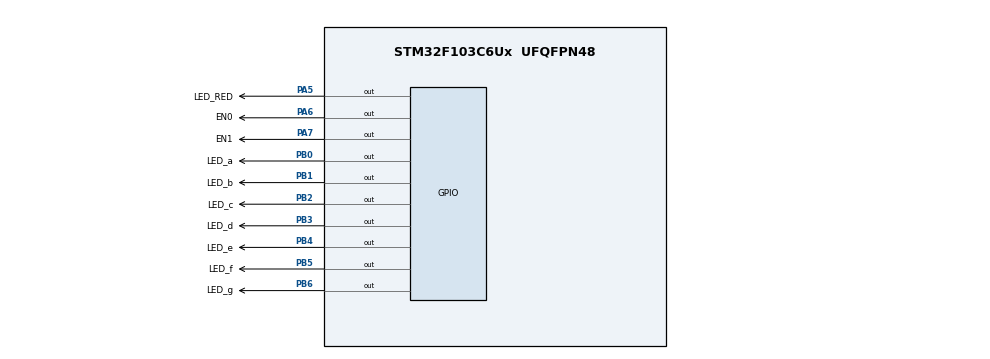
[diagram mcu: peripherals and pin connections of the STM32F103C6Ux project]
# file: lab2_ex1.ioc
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Mcu.Family=STM32F1
Mcu.Name=STM32F103C6Ux
Mcu.Package=UFQFPN48
NVIC.PriorityGroup=NVIC_PRIORITYGROUP_4
NVIC.TIM2_IRQn=true\:0\:0\:false\:false\:true\:true\:true\:true
PA5.GPIO_Label=LED_RED
PA5.GPIO_ModeDefaultOutputPP=GPIO_MODE_OUTPUT_PP
PA5.GPIO_PuPd=GPIO_NOPULL
PA5.GPIO_Speed=GPIO_SPEED_FREQ_LOW
PA5.PinState=GPIO_PIN_RESET
PA5.Signal=GPIO_Output
PA6.GPIO_Label=EN0
PA6.Signal=GPIO_Output
PA7.GPIO_Label=EN1
PA7.Signal=GPIO_Output
PB0.GPIO_Label=LED_a
PB0.GPIO_ModeDefaultOutputPP=GPIO_MODE_OUTPUT_PP
PB0.GPIO_PuPd=GPIO_NOPULL
PB0.GPIO_Speed=GPIO_SPEED_FREQ_LOW
PB0.PinState=GPIO_PIN_RESET
PB0.Signal=GPIO_Output
PB1.GPIO_Label=LED_b
PB1.GPIO_ModeDefaultOutputPP=GPIO_MODE_OUTPUT_PP
PB1.GPIO_PuPd=GPIO_NOPULL
PB1.GPIO_Speed=GPIO_SPEED_FREQ_LOW
PB1.PinState=GPIO_PIN_RESET
PB1.Signal=GPIO_Output
PB2.GPIO_Label=LED_c
PB2.GPIO_ModeDefaultOutputPP=GPIO_MODE_OUTPUT_PP
PB2.GPIO_PuPd=GPIO_NOPULL
PB2.GPIO_Speed=GPIO_SPEED_FREQ_LOW
PB2.PinState=GPIO_PIN_RESET
PB2.Signal=GPIO_Output
PB3.GPIO_Label=LED_d
PB3.GPIO_ModeDefaultOutputPP=GPIO_MODE_OUTPUT_PP
PB3.GPIO_PuPd=GPIO_NOPULL
PB3.GPIO_Speed=GPIO_SPEED_FREQ_LOW
PB3.PinState=GPIO_PIN_RESET
PB3.Signal=GPIO_Output
PB4.GPIO_Label=LED_e
PB4.GPIO_ModeDefaultOutputPP=GPIO_MODE_OUTPUT_PP
PB4.GPIO_PuPd=GPIO_NOPULL
PB4.GPIO_Speed=GPIO_SPEED_FREQ_LOW
PB4.PinState=GPIO_PIN_RESET
PB4.Signal=GPIO_Output
PB5.GPIO_Label=LED_f
PB5.GPIO_ModeDefaultOutputPP=GPIO_MODE_OUTPUT_PP
PB5.GPIO_PuPd=GPIO_NOPULL
PB5.GPIO_Speed=GPIO_SPEED_FREQ_LOW
PB5.PinState=GPIO_PIN_RESET
PB5.Signal=GPIO_Output
PB6.GPIO_Label=LED_g
PB6.Signal=GPIO_Output
ProjectManager.HeapSize=0x200
ProjectManager.StackSize=0x400
ProjectManager.TargetToolchain=STM32CubeIDE
RCC.APB1Freq_Value=8000000
RCC.APB2Freq_Value=8000000
TIM2.Period=9
TIM2.Prescaler=7999
VP_SYS_VS_ND.Mode=No_Debug
VP_TIM2_VS_ClockSourceINT.Mode=Internal
board=custom

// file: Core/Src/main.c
/* USER CODE BEGIN Header */
/**
  ******************************************************************************
  * @file           : main.c
  * @brief          : Main program body
  ******************************************************************************
  * @attention
  *
  * Copyright (c) 2025 STMicroelectronics.
  * All rights reserved.
  *
  * This software is licensed under terms that can be found in the LICENSE file
  * in the root directory of this software component.
  * If no LICENSE file comes with this software, it is provided AS-IS.
  *
  ******************************************************************************
  */
/* USER CODE END Header */
#include "main.h"

TIM_HandleTypeDef htim2;

void SystemClock_Config(void);
static void MX_GPIO_Init(void);
static void MX_TIM2_Init(void);

/* USER CODE BEGIN 0 */
void display7SEG(int num){
	  // common anode => set = off; reset= on
	  switch(num){
	  case 0:
		  HAL_GPIO_WritePin(LED_g_GPIO_Port, LED_g_Pin, SET);

		  HAL_GPIO_WritePin(LED_a_GPIO_Port, LED_a_Pin, RESET);
		  HAL_GPIO_WritePin(LED_b_GPIO_Port, LED_b_Pin, RESET);
		  HAL_GPIO_WritePin(LED_c_GPIO_Port, LED_c_Pin, RESET);
		  HAL_GPIO_WritePin(LED_d_GPIO_Port, LED_d_Pin, RESET);
		  HAL_GPIO_WritePin(LED_e_GPIO_Port, LED_e_Pin, RESET);
		  HAL_GPIO_WritePin(LED_f_GPIO_Port, LED_f_Pin, RESET);
		  break;

	  case 1:
		  HAL_GPIO_WritePin(LED_a_GPIO_Port, LED_a_Pin, SET);
		  HAL_GPIO_WritePin(LED_f_GPIO_Port, LED_f_Pin, SET);
		  HAL_GPIO_WritePin(LED_e_GPIO_Port, LED_e_Pin, SET);
		  HAL_GPIO_WritePin(LED_d_GPIO_Port, LED_d_Pin, SET);
		  HAL_GPIO_WritePin(LED_g_GPIO_Port, LED_g_Pin, SET);
		  HAL_GPIO_WritePin(LED_b_GPIO_Port, LED_b_Pin, RESET);
		  HAL_GPIO_WritePin(LED_c_GPIO_Port, LED_c_Pin, RESET);
		  break;
     case 2: // a b d e g sang
         HAL_GPIO_WritePin(LED_a_GPIO_Port, LED_a_Pin, GPIO_PIN_RESET);
         HAL_GPIO_WritePin(LED_b_GPIO_Port, LED_b_Pin, GPIO_PIN_RESET);
         HAL_GPIO_WritePin(LED_c_GPIO_Port, LED_c_Pin, GPIO_PIN_SET);
         HAL_GPIO_WritePin(LED_d_GPIO_Port, LED_d_Pin, GPIO_PIN_RESET);
         HAL_GPIO_WritePin(LED_e_GPIO_Port, LED_e_Pin, GPIO_PIN_RESET);
         HAL_GPIO_WritePin(LED_f_GPIO_Port, LED_f_Pin, GPIO_PIN_SET);
         HAL_GPIO_WritePin(LED_g_GPIO_Port, LED_g_Pin, GPIO_PIN_RESET);
         break;
     case 3: // a b c d g sang
         HAL_GPIO_WritePin(LED_a_GPIO_Port, LED_a_Pin, GPIO_PIN_RESET);
         HAL_GPIO_WritePin(LED_b_GPIO_Port, LED_b_Pin, GPIO_PIN_RESET);
         HAL_GPIO_WritePin(LED_c_GPIO_Port, LED_c_Pin, GPIO_PIN_RESET);
         HAL_GPIO_WritePin(LED_d_GPIO_Port, LED_d_Pin, GPIO_PIN_RESET);
         HAL_GPIO_WritePin(LED_e_GPIO_Port, LED_e_Pin, GPIO_PIN_SET);
         HAL_GPIO_WritePin(LED_f_GPIO_Port, LED_f_Pin, GPIO_PIN_SET);
         HAL_GPIO_WritePin(LED_g_GPIO_Port, LED_g_Pin, GPIO_PIN_RESET);
         break;

     case 4: // b c f g sang
         HAL_GPIO_WritePin(LED_a_GPIO_Port, LED_a_Pin, GPIO_PIN_SET);
         HAL_GPIO_WritePin(LED_b_GPIO_Port, LED_b_Pin, GPIO_PIN_RESET);
         HAL_GPIO_WritePin(LED_c_GPIO_Port, LED_c_Pin, GPIO_PIN_RESET);
         HAL_GPIO_WritePin(LED_d_GPIO_Port, LED_d_Pin, GPIO_PIN_SET);
         HAL_GPIO_WritePin(LED_e_GPIO_Port, LED_e_Pin, GPIO_PIN_SET);
         HAL_GPIO_WritePin(LED_f_GPIO_Port, LED_f_Pin, GPIO_PIN_RESET);
         HAL_GPIO_WritePin(LED_g_GPIO_Port, LED_g_Pin, GPIO_PIN_RESET);
         break;

     case 5: // a c d f g sang
         HAL_GPIO_WritePin(LED_a_GPIO_Port, LED_a_Pin, GPIO_PIN_RESET);
         HAL_GPIO_WritePin(LED_b_GPIO_Port, LED_b_Pin, GPIO_PIN_SET);
         HAL_GPIO_WritePin(LED_c_GPIO_Port, LED_c_Pin, GPIO_PIN_RESET);
         HAL_GPIO_WritePin(LED_d_GPIO_Port, LED_d_Pin, GPIO_PIN_RESET);
         HAL_GPIO_WritePin(LED_e_GPIO_Port, LED_e_Pin, GPIO_PIN_SET);
         HAL_GPIO_WritePin(LED_f_GPIO_Port, LED_f_Pin, GPIO_PIN_RESET);
         HAL_GPIO_WritePin(LED_g_GPIO_Port, LED_g_Pin, GPIO_PIN_RESET);
         break;

     case 6: // a c d e f g sang
         HAL_GPIO_WritePin(LED_a_GPIO_Port, LED_a_Pin, GPIO_PIN_RESET);
         HAL_GPIO_WritePin(LED_b_GPIO_Port, LED_b_Pin, GPIO_PIN_SET);
         HAL_GPIO_WritePin(LED_c_GPIO_Port, LED_c_Pin, GPIO_PIN_RESET);
         HAL_GPIO_WritePin(LED_d_GPIO_Port, LED_d_Pin, GPIO_PIN_RESET);
         HAL_GPIO_WritePin(LED_e_GPIO_Port, LED_e_Pin, GPIO_PIN_RESET);
         HAL_GPIO_WritePin(LED_f_GPIO_Port, LED_f_Pin, GPIO_PIN_RESET);
         HAL_GPIO_WritePin(LED_g_GPIO_Port, LED_g_Pin, GPIO_PIN_RESET);
         break;

     case 7: // a b c sang
         HAL_GPIO_WritePin(LED_a_GPIO_Port, LED_a_Pin, GPIO_PIN_RESET);
         HAL_GPIO_WritePin(LED_b_GPIO_Port, LED_b_Pin, GPIO_PIN_RESET);
         HAL_GPIO_WritePin(LED_c_GPIO_Port, LED_c_Pin, GPIO_PIN_RESET);
         HAL_GPIO_WritePin(LED_d_GPIO_Port, LED_d_Pin, GPIO_PIN_SET);
         HAL_GPIO_WritePin(LED_e_GPIO_Port, LED_e_Pin, GPIO_PIN_SET);
         HAL_GPIO_WritePin(LED_f_GPIO_Port, LED_f_Pin, GPIO_PIN_SET);
         HAL_GPIO_WritePin(LED_g_GPIO_Port, LED_g_Pin, GPIO_PIN_SET);
         break;

     case 8: // all
         HAL_GPIO_WritePin(LED_a_GPIO_Port, LED_a_Pin, GPIO_PIN_RESET);
         HAL_GPIO_WritePin(LED_b_GPIO_Port, LED_b_Pin, GPIO_PIN_RESET);
         HAL_GPIO_WritePin(LED_c_GPIO_Port, LED_c_Pin, GPIO_PIN_RESET);
         HAL_GPIO_WritePin(LED_d_GPIO_Port, LED_d_Pin, GPIO_PIN_RESET);
         HAL_GPIO_WritePin(LED_e_GPIO_Port, LED_e_Pin, GPIO_PIN_RESET);
         HAL_GPIO_WritePin(LED_f_GPIO_Port, LED_f_Pin, GPIO_PIN_RESET);
         HAL_GPIO_WritePin(LED_g_GPIO_Port, LED_g_Pin, GPIO_PIN_RESET);
         break;

     case 9: // a b c d f g sang
         HAL_GPIO_WritePin(LED_a_GPIO_Port, LED_a_Pin, GPIO_PIN_RESET);
         HAL_GPIO_WritePin(LED_b_GPIO_Port, LED_b_Pin, GPIO_PIN_RESET);
         HAL_GPIO_WritePin(LED_c_GPIO_Port, LED_c_Pin, GPIO_PIN_RESET);
         HAL_GPIO_WritePin(LED_d_GPIO_Port, LED_d_Pin, GPIO_PIN_RESET);
         HAL_GPIO_WritePin(LED_e_GPIO_Port, LED_e_Pin, GPIO_PIN_SET);
         HAL_GPIO_WritePin(LED_f_GPIO_Port, LED_f_Pin, GPIO_PIN_RESET);
         HAL_GPIO_WritePin(LED_g_GPIO_Port, LED_g_Pin, GPIO_PIN_RESET);
         break;
	  }
 }
/* USER CODE END 0 */

int main(void)
{

  /* MCU Configuration--------------------------------------------------------*/

  /* Reset of all peripherals, Initializes the Flash interface and the Systick. */
  HAL_Init();

  /* Configure the system clock */
  SystemClock_Config();

  /* Initialize all configured peripherals */
  MX_GPIO_Init();
  MX_TIM2_Init();
  /* USER CODE BEGIN 2 */
HAL_TIM_Base_Start_IT(&htim2);

  /* USER CODE END 2 */

  /* Infinite loop */
  while (1)
  {

  }
}

void SystemClock_Config(void)
{
  RCC_OscInitTypeDef RCC_OscInitStruct = {0};
  RCC_ClkInitTypeDef RCC_ClkInitStruct = {0};

  /** Initializes the RCC Oscillators according to the specified parameters
  * in the RCC_OscInitTypeDef structure.
  */
  RCC_OscInitStruct.OscillatorType = RCC_OSCILLATORTYPE_HSI;
  RCC_OscInitStruct.HSIState = RCC_HSI_ON;
  RCC_OscInitStruct.HSICalibrationValue = RCC_HSICALIBRATION_DEFAULT;
  RCC_OscInitStruct.PLL.PLLState = RCC_PLL_NONE;
  if (HAL_RCC_OscConfig(&RCC_OscInitStruct) != HAL_OK)
  {
    Error_Handler();
  }

  /** Initializes the CPU, AHB and APB buses clocks
  */
  RCC_ClkInitStruct.ClockType = RCC_CLOCKTYPE_HCLK|RCC_CLOCKTYPE_SYSCLK
                              |RCC_CLOCKTYPE_PCLK1|RCC_CLOCKTYPE_PCLK2;
  RCC_ClkInitStruct.SYSCLKSource = RCC_SYSCLKSOURCE_HSI;
  RCC_ClkInitStruct.AHBCLKDivider = RCC_SYSCLK_DIV1;
  RCC_ClkInitStruct.APB1CLKDivider = RCC_HCLK_DIV1;
  RCC_ClkInitStruct.APB2CLKDivider = RCC_HCLK_DIV1;

  if (HAL_RCC_ClockConfig(&RCC_ClkInitStruct, FLASH_LATENCY_0) != HAL_OK)
  {
    Error_Handler();
  }
}

static void MX_TIM2_Init(void)
{

  TIM_ClockConfigTypeDef sClockSourceConfig = {0};
  TIM_MasterConfigTypeDef sMasterConfig = {0};

  htim2.Instance = TIM2;
  htim2.Init.Prescaler = 7999;
  htim2.Init.CounterMode = TIM_COUNTERMODE_UP;
  htim2.Init.Period = 9;
  htim2.Init.ClockDivision = TIM_CLOCKDIVISION_DIV1;
  htim2.Init.AutoReloadPreload = TIM_AUTORELOAD_PRELOAD_DISABLE;
  if (HAL_TIM_Base_Init(&htim2) != HAL_OK)
  {
    Error_Handler();
  }
  sClockSourceConfig.ClockSource = TIM_CLOCKSOURCE_INTERNAL;
  if (HAL_TIM_ConfigClockSource(&htim2, &sClockSourceConfig) != HAL_OK)
  {
    Error_Handler();
  }
  sMasterConfig.MasterOutputTrigger = TIM_TRGO_RESET;
  sMasterConfig.MasterSlaveMode = TIM_MASTERSLAVEMODE_DISABLE;
  if (HAL_TIMEx_MasterConfigSynchronization(&htim2, &sMasterConfig) != HAL_OK)
  {
    Error_Handler();
  }

}

static void MX_GPIO_Init(void)
{
  GPIO_InitTypeDef GPIO_InitStruct = {0};

  /* GPIO Ports Clock Enable */
  __HAL_RCC_GPIOA_CLK_ENABLE();
  __HAL_RCC_GPIOB_CLK_ENABLE();

  /*Configure GPIO pin Output Level */
  HAL_GPIO_WritePin(GPIOA, LED_RED_Pin|EN0_Pin|EN1_Pin, GPIO_PIN_RESET);

  /*Configure GPIO pin Output Level */
  HAL_GPIO_WritePin(GPIOB, LED_a_Pin|LED_b_Pin|LED_c_Pin|LED_d_Pin
                          |LED_e_Pin|LED_f_Pin|LED_g_Pin, GPIO_PIN_RESET);

  /*Configure GPIO pins : LED_RED_Pin EN0_Pin EN1_Pin */
  GPIO_InitStruct.Pin = LED_RED_Pin|EN0_Pin|EN1_Pin;
  GPIO_InitStruct.Mode = GPIO_MODE_OUTPUT_PP;
  GPIO_InitStruct.Pull = GPIO_NOPULL;
  GPIO_InitStruct.Speed = GPIO_SPEED_FREQ_LOW;
  HAL_GPIO_Init(GPIOA, &GPIO_InitStruct);

  /*Configure GPIO pins : LED_a_Pin LED_b_Pin LED_c_Pin LED_d_Pin
                           LED_e_Pin LED_f_Pin LED_g_Pin */
  GPIO_InitStruct.Pin = LED_a_Pin|LED_b_Pin|LED_c_Pin|LED_d_Pin
                          |LED_e_Pin|LED_f_Pin|LED_g_Pin;
  GPIO_InitStruct.Mode = GPIO_MODE_OUTPUT_PP;
  GPIO_InitStruct.Pull = GPIO_NOPULL;
  GPIO_InitStruct.Speed = GPIO_SPEED_FREQ_LOW;
  HAL_GPIO_Init(GPIOB, &GPIO_InitStruct);

}

/* USER CODE BEGIN 4 */
int counter =100;

void HAL_TIM_PeriodElapsedCallback(TIM_HandleTypeDef *htim)
 {
	HAL_GPIO_TogglePin(LED_RED_GPIO_Port,LED_RED_Pin);

	if (counter == 100) {
			display7SEG(1);
			HAL_GPIO_WritePin(EN0_GPIO_Port, EN0_Pin, GPIO_PIN_RESET);
			HAL_GPIO_WritePin(EN1_GPIO_Port, EN1_Pin, GPIO_PIN_SET);
		} else if(counter == 50) {
			display7SEG(2);
			HAL_GPIO_WritePin(EN0_GPIO_Port, EN0_Pin, GPIO_PIN_SET);
			HAL_GPIO_WritePin(EN1_GPIO_Port, EN1_Pin, GPIO_PIN_RESET);
		}
		counter = (counter > 0) ? counter-1 : 100;
 }

/* USER CODE END 4 */

void Error_Handler(void)
{
  __disable_irq();
  while (1)
  {
  }
}
